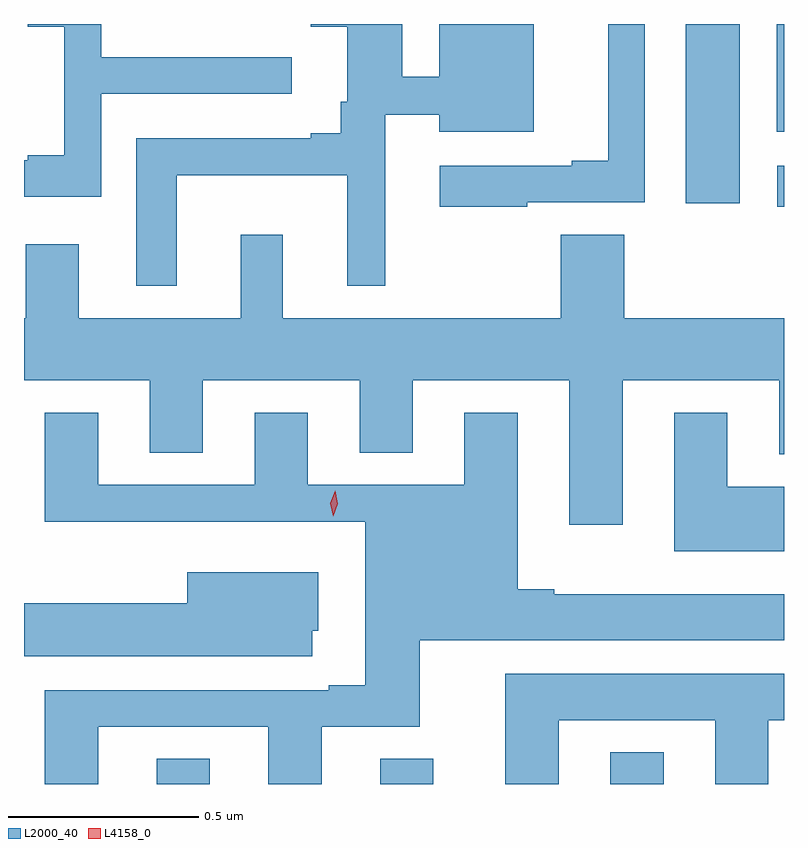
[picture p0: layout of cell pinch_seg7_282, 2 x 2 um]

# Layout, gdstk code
import gdstk
lib = gdstk.Library(unit=1e-6, precision=1e-09)
def R(c, l, rs):  # rectangles x0, y0, x1, y1
    for r in rs: c.add(gdstk.rectangle(r[:2], r[2:], *l))
def P(c, l, *ps):  # polygons
    for p in ps: c.add(gdstk.Polygon(p, *l))
L2000_40 = (2000, 40)
L4158_0 = (4158, 0)

pinch_seg7_282 = lib.new_cell('pinch_seg7_282')
R(pinch_seg7_282, L2000_40, [(793.763,1027.526,793.903,1027.592), (794.351,1027.526,794.491,1027.592), (794.957,1027.526,795.097,1027.609), (795.396,1029.045,795.414,1029.153), (795.155,1029.054,795.298,1029.526), (795.395,1029.242,795.414,1029.526)])
P(pinch_seg7_282, L2000_40, [(793.617,1029.342),(794.119,1029.342),(794.119,1029.438),(793.617,1029.438),(793.617,1029.526),(793.424,1029.526),(793.424,1029.519),(793.52,1029.519),(793.52,1029.18),(793.424,1029.18),(793.424,1029.168),(793.414,1029.168),(793.414,1029.072),(793.617,1029.072)],
  [(794.738,1029.057),(795.048,1029.057),(795.048,1029.526),(794.951,1029.526),(794.951,1029.166),(794.855,1029.166),(794.855,1029.153),(794.508,1029.153),(794.508,1029.045),(794.738,1029.045)],
  [(793.816,1029.128),(794.264,1029.128),(794.264,1028.837),(794.365,1028.837),(794.365,1029.287),(794.507,1029.287),(794.507,1029.242),(794.755,1029.242),(794.755,1029.526),(794.507,1029.526),(794.507,1029.387),(794.41,1029.387),(794.41,1029.526),(794.168,1029.526),(794.168,1029.519),(794.264,1029.519),(794.264,1029.322),(794.247,1029.322),(794.247,1029.238),(794.168,1029.238),(794.168,1029.225),(793.709,1029.225),(793.709,1028.837),(793.816,1028.837)],
  [(794.989,1028.588),(795.401,1028.588),(795.401,1028.394),(795.414,1028.394),(795.414,1028.752),(794.993,1028.752),(794.993,1028.972),(794.827,1028.972),(794.827,1028.752),(794.095,1028.752),(794.095,1028.971),(793.985,1028.971),(793.985,1028.752),(793.558,1028.752),(793.558,1028.947),(793.418,1028.947),(793.418,1028.752),(793.414,1028.752),(793.414,1028.588),(793.745,1028.588),(793.745,1028.398),(793.885,1028.398),(793.885,1028.588),(794.297,1028.588),(794.297,1028.398),(794.437,1028.398),(794.437,1028.588),(794.849,1028.588),(794.849,1028.208),(794.989,1028.208)],
  [(795.414,1028.308),(795.265,1028.308),(795.265,1028.503),(795.125,1028.503),(795.125,1028.138),(795.414,1028.138)],
  [(793.609,1027.677),(794.057,1027.677),(794.057,1027.526),(794.197,1027.526),(794.197,1027.677),(794.455,1027.677),(794.455,1027.904),(795.414,1027.904),(795.414,1028.026),(794.809,1028.026),(794.809,1028.039),(794.713,1028.039),(794.713,1028.503),(794.573,1028.503),(794.573,1028.313),(794.161,1028.313),(794.161,1028.503),(794.021,1028.503),(794.021,1028.313),(793.609,1028.313),(793.609,1028.503),(793.469,1028.503),(793.469,1028.216),(794.312,1028.216),(794.312,1027.786),(794.216,1027.786),(794.216,1027.773),(793.469,1027.773),(793.469,1027.526),(793.609,1027.526)],
  [(794.173,1027.929),(794.188,1027.929),(794.188,1028.083),(793.844,1028.083),(793.844,1028.002),(793.414,1028.002),(793.414,1027.862),(794.173,1027.862)],
  [(794.821,1027.694),(795.233,1027.694),(795.233,1027.526),(795.373,1027.526),(795.373,1027.694),(795.414,1027.694),(795.414,1027.816),(794.681,1027.816),(794.681,1027.526),(794.821,1027.526)])
P(pinch_seg7_282, L4158_0, [(794.228,1028.23),(794.228,1028.23),(794.22,1028.265),(794.233,1028.298),(794.233,1028.298),(794.233,1028.298),(794.24,1028.263),(794.228,1028.23)])

lib.write_gds('pinch_seg7_282.gds')
